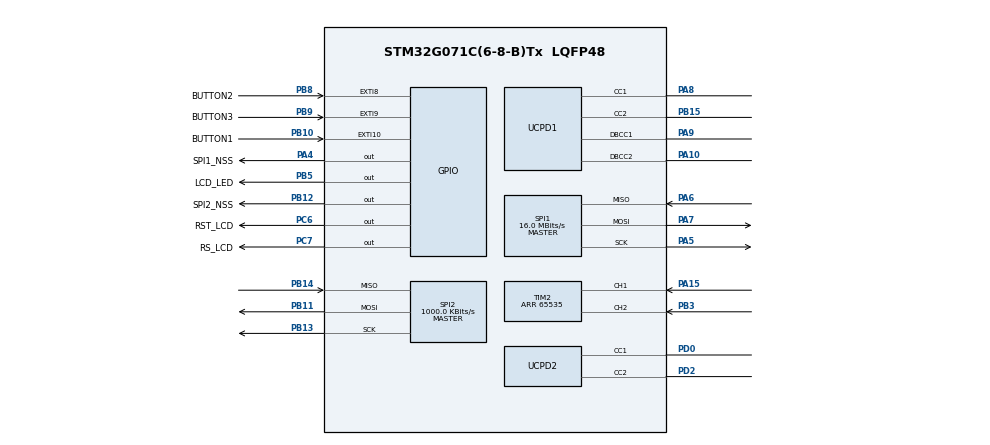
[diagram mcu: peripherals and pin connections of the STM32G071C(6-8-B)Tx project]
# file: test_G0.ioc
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Dma.Request0=SPI1_TX
Dma.Request1=SPI2_RX
Dma.Request2=SPI2_TX
Dma.SPI1_TX.0.Direction=DMA_MEMORY_TO_PERIPH
Dma.SPI1_TX.0.EventEnable=DISABLE
Dma.SPI1_TX.0.Instance=DMA1_Channel1
Dma.SPI1_TX.0.MemDataAlignment=DMA_MDATAALIGN_BYTE
Dma.SPI1_TX.0.MemInc=DMA_MINC_ENABLE
Dma.SPI1_TX.0.Mode=DMA_NORMAL
Dma.SPI1_TX.0.PeriphDataAlignment=DMA_PDATAALIGN_BYTE
Dma.SPI1_TX.0.PeriphInc=DMA_PINC_DISABLE
Dma.SPI1_TX.0.Polarity=HAL_DMAMUX_REQ_GEN_RISING
Dma.SPI1_TX.0.Priority=DMA_PRIORITY_LOW
Dma.SPI1_TX.0.RequestNumber=1
Dma.SPI1_TX.0.SignalID=NONE
Dma.SPI1_TX.0.SyncEnable=DISABLE
Dma.SPI1_TX.0.SyncPolarity=HAL_DMAMUX_SYNC_NO_EVENT
Dma.SPI1_TX.0.SyncRequestNumber=1
Dma.SPI1_TX.0.SyncSignalID=NONE
Dma.SPI2_RX.1.Direction=DMA_PERIPH_TO_MEMORY
Dma.SPI2_RX.1.EventEnable=DISABLE
Dma.SPI2_RX.1.Instance=DMA1_Channel3
Dma.SPI2_RX.1.MemDataAlignment=DMA_MDATAALIGN_BYTE
Dma.SPI2_RX.1.MemInc=DMA_MINC_ENABLE
Dma.SPI2_RX.1.Mode=DMA_NORMAL
Dma.SPI2_RX.1.PeriphDataAlignment=DMA_PDATAALIGN_BYTE
Dma.SPI2_RX.1.PeriphInc=DMA_PINC_DISABLE
Dma.SPI2_RX.1.Polarity=HAL_DMAMUX_REQ_GEN_RISING
Dma.SPI2_RX.1.Priority=DMA_PRIORITY_LOW
Dma.SPI2_RX.1.RequestNumber=1
Dma.SPI2_RX.1.SignalID=NONE
Dma.SPI2_RX.1.SyncEnable=DISABLE
Dma.SPI2_RX.1.SyncPolarity=HAL_DMAMUX_SYNC_NO_EVENT
Dma.SPI2_RX.1.SyncRequestNumber=1
Dma.SPI2_RX.1.SyncSignalID=NONE
Dma.SPI2_TX.2.Direction=DMA_MEMORY_TO_PERIPH
Dma.SPI2_TX.2.EventEnable=DISABLE
Dma.SPI2_TX.2.Instance=DMA1_Channel2
Dma.SPI2_TX.2.MemDataAlignment=DMA_MDATAALIGN_BYTE
Dma.SPI2_TX.2.MemInc=DMA_MINC_ENABLE
Dma.SPI2_TX.2.Mode=DMA_NORMAL
Dma.SPI2_TX.2.PeriphDataAlignment=DMA_PDATAALIGN_BYTE
Dma.SPI2_TX.2.PeriphInc=DMA_PINC_DISABLE
Dma.SPI2_TX.2.Polarity=HAL_DMAMUX_REQ_GEN_RISING
Dma.SPI2_TX.2.Priority=DMA_PRIORITY_LOW
Dma.SPI2_TX.2.RequestNumber=1
Dma.SPI2_TX.2.SignalID=NONE
Dma.SPI2_TX.2.SyncEnable=DISABLE
Dma.SPI2_TX.2.SyncPolarity=HAL_DMAMUX_SYNC_NO_EVENT
Dma.SPI2_TX.2.SyncRequestNumber=1
Dma.SPI2_TX.2.SyncSignalID=NONE
Mcu.Family=STM32G0
Mcu.Name=STM32G071C(6-8-B)Tx
Mcu.Package=LQFP48
NVIC.DMA1_Channel1_IRQn=true\:0\:0\:false\:false\:true\:false\:true\:true
NVIC.DMA1_Channel2_3_IRQn=true\:0\:0\:false\:false\:true\:false\:true\:true
NVIC.EXTI4_15_IRQn=true\:1\:0\:true\:false\:true\:true\:true\:true
PA10.Mode=EnableDeadBattery
PA10.Signal=UCPD1_DBCC2
PA13.Mode=Serial_Wire
PA13.Signal=SYS_SWDIO
PA14-BOOT0.Mode=Serial_Wire
PA14-BOOT0.Signal=SYS_SWCLK
PA15.GPIO_PuPd=GPIO_PULLUP
PA15.Signal=S_TIM2_CH1_ETR
PA4.GPIO_Label=SPI1_NSS
PA4.GPIO_Speed=GPIO_SPEED_FREQ_VERY_HIGH
PA4.Signal=GPIO_Output
PA5.Mode=Full_Duplex_Master
PA5.PinState=GPIO_PIN_SET
PA5.Signal=SPI1_SCK
PA6.Mode=Full_Duplex_Master
PA6.PinState=GPIO_PIN_SET
PA6.Signal=SPI1_MISO
PA7.Mode=Full_Duplex_Master
PA7.PinState=GPIO_PIN_SET
PA7.Signal=SPI1_MOSI
PA8.Mode=Dual_Role_AllSignals
PA8.Signal=UCPD1_CC1
PA9.Mode=EnableDeadBattery
PA9.Signal=UCPD1_DBCC1
PB10.GPIO_Label=BUTTON1
PB10.GPIO_ModeDefaultEXTI=GPIO_MODE_IT_FALLING
PB10.GPIO_PuPd=GPIO_PULLUP
PB10.Signal=GPXTI10
PB11.Mode=Full_Duplex_Master
PB11.Signal=SPI2_MOSI
PB12.GPIO_Label=SPI2_NSS
PB12.GPIO_Speed=GPIO_SPEED_FREQ_VERY_HIGH
PB12.PinState=GPIO_PIN_RESET
PB12.Signal=GPIO_Output
PB13.Mode=Full_Duplex_Master
PB13.Signal=SPI2_SCK
PB14.Mode=Full_Duplex_Master
PB14.Signal=SPI2_MISO
PB15.Mode=Dual_Role_AllSignals
PB15.Signal=UCPD1_CC2
PB3.GPIO_PuPd=GPIO_PULLUP
PB3.Signal=S_TIM2_CH2
PB5.GPIO_Label=LCD_LED
PB5.GPIO_PuPd=GPIO_NOPULL
PB5.GPIO_Speed=GPIO_SPEED_FREQ_HIGH
PB5.Signal=GPIO_Output
PB8.GPIO_Label=BUTTON2
PB8.GPIO_ModeDefaultEXTI=GPIO_MODE_IT_FALLING
PB8.GPIO_PuPd=GPIO_PULLUP
PB8.Signal=GPXTI8
PB9.GPIO_Label=BUTTON3
PB9.GPIO_ModeDefaultEXTI=GPIO_MODE_IT_FALLING
PB9.GPIO_PuPd=GPIO_PULLUP
PB9.Signal=GPXTI9
PC14-OSC32_IN\ (PC14).Mode=LSE-External-Oscillator
PC14-OSC32_IN\ (PC14).Signal=RCC_OSC32_IN
PC15-OSC32_OUT\ (PC15).Mode=LSE-External-Oscillator
PC15-OSC32_OUT\ (PC15).Signal=RCC_OSC32_OUT
PC6.GPIO_Label=RST_LCD
PC6.GPIO_Speed=GPIO_SPEED_FREQ_VERY_HIGH
PC6.Signal=GPIO_Output
PC7.GPIO_Label=RS_LCD
PC7.GPIO_Speed=GPIO_SPEED_FREQ_VERY_HIGH
PC7.Signal=GPIO_Output
PD0.Mode=Dual_Role_AllSignals
PD0.Signal=UCPD2_CC1
PD2.Mode=Dual_Role_AllSignals
PD2.Signal=UCPD2_CC2
PF0-OSC_IN\ (PF0).Mode=HSE-External-Oscillator
PF0-OSC_IN\ (PF0).Signal=RCC_OSC_IN
PF1-OSC_OUT\ (PF1).Mode=HSE-External-Oscillator
PF1-OSC_OUT\ (PF1).Signal=RCC_OSC_OUT
ProjectManager.HeapSize=0x200
ProjectManager.StackSize=0x400
ProjectManager.TargetToolchain=MDK-ARM V5.27
RCC.ADCFreq_Value=64000000
RCC.AHBFreq_Value=64000000
RCC.CortexFreq_Value=64000000
RCC.EXTERNAL_CLOCK_VALUE=48000
RCC.HCLKFreq_Value=64000000
RCC.HSE_VALUE=16000000
RCC.HSI_VALUE=16000000
RCC.PLLSourceVirtual=RCC_PLLSOURCE_HSE
RCC.SYSCLKFreq_VALUE=64000000
RCC.SYSCLKSource=RCC_SYSCLKSOURCE_PLLCLK
RCC.VCOOutputFreq_Value=128000000
SH.S_TIM2_CH1_ETR.0=TIM2_CH1,Encoder_Interface
SH.S_TIM2_CH2.0=TIM2_CH2,Encoder_Interface
SPI1.BaudRatePrescaler=SPI_BAUDRATEPRESCALER_4
SPI1.CalculateBaudRate=16.0 MBits/s
SPI1.DataSize=SPI_DATASIZE_8BIT
SPI1.Direction=SPI_DIRECTION_2LINES
SPI1.Mode=SPI_MODE_MASTER
SPI1.VirtualType=VM_MASTER
SPI2.BaudRatePrescaler=SPI_BAUDRATEPRESCALER_64
SPI2.CalculateBaudRate=1000.0 KBits/s
SPI2.DataSize=SPI_DATASIZE_8BIT
SPI2.Direction=SPI_DIRECTION_2LINES
SPI2.Mode=SPI_MODE_MASTER
SPI2.VirtualType=VM_MASTER
TIM14.AutoReloadPreload=TIM_AUTORELOAD_PRELOAD_DISABLE
TIM14.Channel=TIM_CHANNEL_1
TIM14.Period=199
TIM14.Prescaler=6399
TIM2.AutoReloadPreload=TIM_AUTORELOAD_PRELOAD_DISABLE
TIM2.IC1Prescaler=TIM_ICPSC_DIV2
TIM2.Period=65535
VP_SYS_VS_DBSignals.Mode=DisableDeadBatterySignals
VP_TIM14_VS_ClockSourceINT.Mode=Enable_Timer
VP_TIM14_VS_no_output1.Mode=Output Compare1 No Output
VP_TIM2_VS_OPM.Mode=OPM_bit
board=custom

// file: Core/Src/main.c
/* USER CODE BEGIN Header */
/**
  ******************************************************************************
  * @file           : main.c
  * @brief          : Main program body
  ******************************************************************************
  * @attention
  *
  * <h2><center>&copy; Copyright (c) 2024 STMicroelectronics.
  * All rights reserved.</center></h2>
  *
  * This software component is licensed by ST under BSD 3-Clause license,
  * the "License"; You may not use this file except in compliance with the
  * License. You may obtain a copy of the License at:
  *                        opensource.org/licenses/BSD-3-Clause
  *
  ******************************************************************************
  */
/* USER CODE END Header */
#include "main.h"
#include "dma.h"
#include "spi.h"
#include "tim.h"
#include "ucpd.h"
#include "gpio.h"

/* USER CODE BEGIN Includes */
#include "spi_ili9341.h"
#include "Mod_bus.h"
/* USER CODE END Includes */

void SystemClock_Config(void);

/* USER CODE BEGIN 0 */

	extern uint16_t TFT9341_WIDTH;
	extern uint16_t TFT9341_HEIGHT;

	struct Display
{
    uint16_t volt_set_current;
		uint16_t current_set_current;
    uint16_t volt_set_izmerenn;
		uint16_t current_set_izmerenn;
		uint8_t  set_d_v[4];
		uint8_t  set_d_c[4];
		uint8_t  izmerenn_d_v[4];
		uint8_t  izmerenn_d_c[4];
};
/* USER CODE END 0 */

int main(void)
{
  /* USER CODE BEGIN 1 */
uint16_t d_v[4] = {0} ,d_c[4] = {0},d_v_izm[4] = {0} ,d_c_izm[4] = {0};
struct  Display Display_current;
Display_current.set_d_v[0] = 10;
Display_current.set_d_v[1] = 10;
Display_current.set_d_v[2] = 10;
Display_current.set_d_v[3] = 10;
Display_current.set_d_c[0] = 10;
Display_current.set_d_c[1] = 10;
Display_current.set_d_c[2] = 10;
Display_current.set_d_c[3] = 10;

Display_current.izmerenn_d_v[0] = 10;
Display_current.izmerenn_d_v[1] = 10;
Display_current.izmerenn_d_v[2] = 10;
Display_current.izmerenn_d_v[3] = 10;
Display_current.izmerenn_d_c[0] = 10;
Display_current.izmerenn_d_c[1] = 10;
Display_current.izmerenn_d_c[2] = 10;
Display_current.izmerenn_d_c[3] = 10;
  /* USER CODE END 1 */

  /* MCU Configuration--------------------------------------------------------*/

  /* Reset of all peripherals, Initializes the Flash interface and the Systick. */
  LL_APB2_GRP1_EnableClock(LL_APB2_GRP1_PERIPH_SYSCFG);
  LL_APB1_GRP1_EnableClock(LL_APB1_GRP1_PERIPH_PWR);

  /** Disable the internal Pull-Up in Dead Battery pins of UCPD peripheral
  */
  LL_SYSCFG_DisableDBATT(LL_SYSCFG_UCPD2_STROBE);

  /* Configure the system clock */
  SystemClock_Config();

  /* USER CODE BEGIN SysInit */
	NVIC->ICPR[0U] = 0;
  /* USER CODE END SysInit */

  /* Initialize all configured peripherals */
  MX_GPIO_Init();
  MX_DMA_Init();
  MX_SPI1_Init();
  MX_UCPD1_Init();
  MX_UCPD2_Init();
  MX_TIM2_Init();
  MX_TIM14_Init();
  MX_SPI2_Init();
  /* USER CODE BEGIN 2 */
	LL_TIM_EnableCounter(TIM2);
	LL_SPI_Enable(SPI1);
	LL_SPI_Enable(SPI2);
	MX_DMA_User_Init();
	TFT9341_LED_ON();
	TFT9341_reset();
	TFT9341_ini(240, 320);
	TFT9341_FillScreen(TFT9341_BLACK);
	TFT9341_SetRotation(1);
	TFT9341_SetFont(&Font48);

	LL_GPIO_SetOutputPin(SPI2_NSS_GPIO_Port, SPI1_NSS_Pin );
	LL_DMA_SetDataLength(DMA1, LL_DMA_CHANNEL_2, 20);
	LL_DMA_SetDataLength(DMA1, LL_DMA_CHANNEL_3, 19);
	LL_DMA_EnableChannel(DMA1,LL_DMA_CHANNEL_2);
	LL_DMA_EnableChannel(DMA1,LL_DMA_CHANNEL_3);

REGS[volt_set] = 123;
REGS[current_set] = 123;
//вывод точек
TFT9341_FillRect(90, 65, 95, 70, TFT9341_GREEN);
TFT9341_FillRect(234, 65, 239, 70, TFT9341_GREEN);
TFT9341_FillRect(90, 110, 95, 115, TFT9341_GREEN);
TFT9341_FillRect(234, 110, 239, 115, TFT9341_GREEN);
  /* USER CODE END 2 */

  /* Infinite loop */
  /* USER CODE BEGIN WHILE */

  while (1)
  {

			LL_DMA_DisableChannel(DMA1,LL_DMA_CHANNEL_2);
			LL_DMA_DisableChannel(DMA1,LL_DMA_CHANNEL_3);
			LL_GPIO_ResetOutputPin(SPI2_NSS_GPIO_Port, SPI2_NSS_Pin );
	LL_DMA_SetDataLength(DMA1, LL_DMA_CHANNEL_2, 20);
	LL_DMA_SetDataLength(DMA1, LL_DMA_CHANNEL_3, 19);
	LL_DMA_EnableChannel(DMA1,LL_DMA_CHANNEL_2);
	LL_DMA_EnableChannel(DMA1,LL_DMA_CHANNEL_3);

//		REGS[volt_set]++;
//		if(REGS[volt_set] == 4000)REGS[volt_set] = 0;
//
//				REGS[current_set]++;
//
//		if(REGS[current_set] == 4000)REGS[current_set] = 0;
//					REGS[current_set]++;
//
//		if(REGS[volt_measured] == 4000)REGS[volt_measured] = 0;
//			REGS[volt_measured]++;
//
//			if(REGS[current_measured]== 4000)REGS[current_measured] = 0;
//			REGS[current_measured]++;

		REGS[volt_set] = TIM2->CNT;
	REGS[current_set] = (TIM2->CNT)>>1;

			REGS[volt_set] = TIM2->CNT;
	REGS[volt_measured] = ((TIM2->CNT)>>1) +10;

		//вывод заданного напряжения
		if(Display_current.volt_set_current != REGS[volt_set]){
				uint16_t del = 0, volt_set_b =REGS[volt_set];

					d_v[0] = volt_set_b % 10;
					volt_set_b = volt_set_b/10;
					d_v[1] = volt_set_b % 10;
					volt_set_b = volt_set_b/10;
					d_v[2] = volt_set_b % 10;
						volt_set_b = volt_set_b/10;
					d_v[3] = volt_set_b;
					if(d_v[3] != Display_current.set_d_v[3])massiv_code(25,  20,  d_v[3]);//заполняем массив выводим цифру
					if(d_v[2] != Display_current.set_d_v[2])massiv_code(57,  20,  d_v[2]);//выводим цифру
					if(d_v[1] != Display_current.set_d_v[1])massiv_code(100,  20,  d_v[1]);//выводим цифру
					if(d_v[0] != Display_current.set_d_v[0])massiv_code(132,  20,  d_v[0]);//выводим цифру

			Display_current.set_d_v[0] = d_v[0];
			Display_current.set_d_v[1] = d_v[1];
			Display_current.set_d_v[2] = d_v[2];
			Display_current.set_d_v[3] = d_v[3];
			Display_current.current_set_current = REGS[volt_set];
		}

		//вывод заданного тока
		if(Display_current.current_set_current != REGS[current_set]){
				uint16_t del = 0, cur_set_b = REGS[current_set];

					d_c[0] = cur_set_b % 10;
					cur_set_b = cur_set_b/10;
					d_c[1] = cur_set_b % 10;
					cur_set_b = cur_set_b/10;
					d_c[2] = cur_set_b % 10;
					cur_set_b = cur_set_b/10;
					d_c[3] = cur_set_b;
					if(d_c[3] != Display_current.set_d_c[3])massiv_code(170,  20,  d_c[3]);//заполняем массив выводим цифру
					if(d_c[2] != Display_current.set_d_c[2])massiv_code(202 , 20,  d_c[2]);//выводим цифру
					if(d_c[1] != Display_current.set_d_c[1])massiv_code(240,  20,  d_c[1]);//выводим цифру
					if(d_c[0] != Display_current.set_d_c[0])massiv_code(272,  20,  d_c[0]);//выводим цифру

			Display_current.set_d_c[0] = d_c[0];
			Display_current.set_d_c[1] = d_c[1];
			Display_current.set_d_c[2] = d_c[2];
			Display_current.set_d_c[3] = d_c[3];
			Display_current.current_set_current = REGS[current_set];
		}

		//вывод измеренного напряжения
		if(Display_current.volt_set_izmerenn != REGS[volt_measured]){
				uint16_t del = 0, volt_izm_b =REGS[volt_measured];

					d_v_izm[0] = volt_izm_b % 10;
					volt_izm_b = volt_izm_b/10;
					d_v_izm[1] = volt_izm_b % 10;
					volt_izm_b = volt_izm_b/10;
					d_v_izm[2] = volt_izm_b % 10;
					volt_izm_b = volt_izm_b/10;
					d_v_izm[3] = volt_izm_b;
					if(d_v_izm[3] != Display_current.izmerenn_d_v[3])massiv_code(25,  70,  d_v_izm[3]);//заполняем массив выводим цифру
					if(d_v_izm[2] != Display_current.izmerenn_d_v[2])massiv_code(57,  70,  d_v_izm[2]);//выводим цифру
					if(d_v_izm[1] != Display_current.izmerenn_d_v[1])massiv_code(100, 70,  d_v_izm[1]);//выводим цифру
					if(d_v_izm[0] != Display_current.izmerenn_d_v[0])massiv_code(132, 70,  d_v_izm[0]);//выводим цифру

			Display_current.izmerenn_d_v[0] = d_v_izm[0];
			Display_current.izmerenn_d_v[1] = d_v_izm[1];
			Display_current.izmerenn_d_v[2] = d_v_izm[2];
			Display_current.izmerenn_d_v[3] = d_v_izm[3];
			Display_current.volt_set_izmerenn = REGS[volt_measured];
		}

		//вывод измеренного тока
		if(Display_current.current_set_izmerenn != REGS[current_measured]){
				uint16_t del = 0, cur_izm_b =REGS[current_measured];
					d_v_izm[0] = cur_izm_b % 10;
					cur_izm_b = cur_izm_b/10;
					d_v_izm[1] = cur_izm_b % 10;
					cur_izm_b = cur_izm_b/10;
					d_c_izm[2] = cur_izm_b % 10;
					cur_izm_b = cur_izm_b/10;
					d_c_izm[3] = cur_izm_b;
					if(d_v_izm[3] != Display_current.izmerenn_d_c[3])massiv_code(170,  70,  d_v_izm[3]);//заполняем массив выводим цифру
					if(d_v_izm[2] != Display_current.izmerenn_d_c[2])massiv_code(202,  70,  d_v_izm[2]);//выводим цифру
					if(d_v_izm[1] != Display_current.izmerenn_d_c[1])massiv_code(240, 70,  d_v_izm[1]);//выводим цифру
					if(d_v_izm[0] != Display_current.izmerenn_d_c[0])massiv_code(272, 70,  d_v_izm[0]);//выводим цифру

			Display_current.izmerenn_d_c[0] = d_c_izm[0];
			Display_current.izmerenn_d_c[1] = d_c_izm[1];
			Display_current.izmerenn_d_c[2] = d_c_izm[2];
			Display_current.izmerenn_d_c[3] = d_c_izm[3];
			Display_current.volt_set_izmerenn = REGS[current_measured];
		}

//				TFT9341_FillRect_T(50, 50, 81, 94, TFT9341_RED);
//				LL_mDelay(50);
//				TFT9341_FillScreen(TFT9341_BLACK);
//				LL_mDelay(50);
//				TFT9341_FillRect_T(100, 50, 131, 94, TFT9341_RED);

    /* USER CODE END WHILE */

  }
}

void SystemClock_Config(void)
{
  LL_FLASH_SetLatency(LL_FLASH_LATENCY_2);
  while(LL_FLASH_GetLatency() != LL_FLASH_LATENCY_2)
  {
  }

  /* HSE configuration and activation */
  LL_RCC_HSE_Enable();
  while(LL_RCC_HSE_IsReady() != 1)
  {
  }

  /* Main PLL configuration and activation */
  LL_RCC_PLL_ConfigDomain_SYS(LL_RCC_PLLSOURCE_HSE, LL_RCC_PLLM_DIV_1, 8, LL_RCC_PLLR_DIV_2);
  LL_RCC_PLL_Enable();
  LL_RCC_PLL_EnableDomain_SYS();
  while(LL_RCC_PLL_IsReady() != 1)
  {
  }

  /* Set AHB prescaler*/
  LL_RCC_SetAHBPrescaler(LL_RCC_SYSCLK_DIV_1);

  /* Sysclk activation on the main PLL */
  LL_RCC_SetSysClkSource(LL_RCC_SYS_CLKSOURCE_PLL);
  while(LL_RCC_GetSysClkSource() != LL_RCC_SYS_CLKSOURCE_STATUS_PLL)
  {
  }

  /* Set APB1 prescaler*/
  LL_RCC_SetAPB1Prescaler(LL_RCC_APB1_DIV_1);
  LL_Init1msTick(64000000);
  /* Update CMSIS variable (which can be updated also through SystemCoreClockUpdate function) */
  LL_SetSystemCoreClock(64000000);
}

void Error_Handler(void)
{
  __disable_irq();
  while (1)
  {
  }
}
